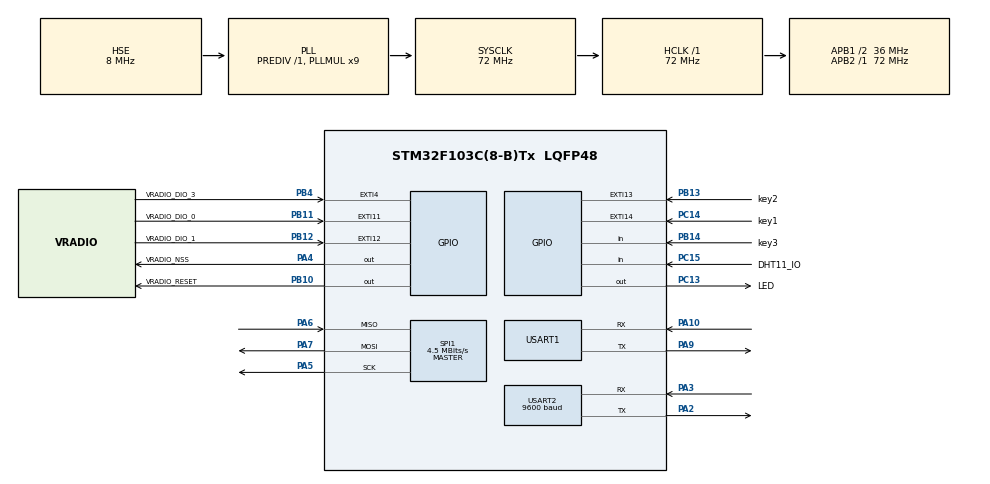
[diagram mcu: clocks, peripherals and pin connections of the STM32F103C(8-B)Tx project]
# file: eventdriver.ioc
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Dma.Request0=USART2_RX
Dma.USART2_RX.0.Direction=DMA_PERIPH_TO_MEMORY
Dma.USART2_RX.0.Instance=DMA1_Channel6
Dma.USART2_RX.0.MemDataAlignment=DMA_MDATAALIGN_BYTE
Dma.USART2_RX.0.MemInc=DMA_MINC_ENABLE
Dma.USART2_RX.0.Mode=DMA_NORMAL
Dma.USART2_RX.0.PeriphDataAlignment=DMA_PDATAALIGN_BYTE
Dma.USART2_RX.0.PeriphInc=DMA_PINC_DISABLE
Dma.USART2_RX.0.Priority=DMA_PRIORITY_LOW
Mcu.Family=STM32F1
Mcu.Name=STM32F103C(8-B)Tx
Mcu.Package=LQFP48
NVIC.DMA1_Channel6_IRQn=true\:0\:0\:false\:false\:true\:false\:true\:true
NVIC.EXTI15_10_IRQn=true\:0\:0\:false\:false\:true\:true\:true\:true
NVIC.PriorityGroup=NVIC_PRIORITYGROUP_1
NVIC.USART1_IRQn=true\:0\:0\:false\:false\:true\:true\:true\:true
NVIC.USART2_IRQn=true\:0\:0\:false\:false\:true\:true\:true\:true
PA10.Mode=Asynchronous
PA10.Signal=USART1_RX
PA13.Mode=Serial_Wire
PA13.Signal=SYS_JTMS-SWDIO
PA14.Mode=Serial_Wire
PA14.Signal=SYS_JTCK-SWCLK
PA2.Mode=Asynchronous
PA2.Signal=USART2_TX
PA3.Mode=Asynchronous
PA3.Signal=USART2_RX
PA4.GPIO_Label=VRADIO_NSS
PA4.Signal=GPIO_Output
PA5.Mode=Full_Duplex_Master
PA5.Signal=SPI1_SCK
PA6.Mode=Full_Duplex_Master
PA6.Signal=SPI1_MISO
PA7.Mode=Full_Duplex_Master
PA7.Signal=SPI1_MOSI
PA9.Mode=Asynchronous
PA9.Signal=USART1_TX
PB10.GPIO_Label=VRADIO_RESET
PB10.Signal=GPIO_Output
PB11.GPIO_Label=VRADIO_DIO_0
PB11.Signal=GPXTI11
PB12.GPIO_Label=VRADIO_DIO_1
PB12.Signal=GPXTI12
PB13.GPIO_Label=key2
PB13.GPIO_ModeDefaultEXTI=GPIO_MODE_IT_FALLING
PB13.GPIO_PuPd=GPIO_PULLUP
PB13.Signal=GPXTI13
PB14.GPIO_Label=key3
PB14.GPIO_PuPd=GPIO_PULLUP
PB14.Signal=GPIO_Input
PB4.GPIO_Label=VRADIO_DIO_3
PB4.Signal=GPXTI4
PC13-TAMPER-RTC.GPIO_Label=LED
PC13-TAMPER-RTC.PinState=GPIO_PIN_SET
PC13-TAMPER-RTC.Signal=GPIO_Output
PC14-OSC32_IN.GPIO_Label=key1
PC14-OSC32_IN.GPIO_ModeDefaultEXTI=GPIO_MODE_IT_FALLING
PC14-OSC32_IN.GPIO_PuPd=GPIO_PULLUP
PC14-OSC32_IN.Signal=GPXTI14
PC15-OSC32_OUT.GPIO_Label=DHT11_IO
PC15-OSC32_OUT.GPIO_PuPd=GPIO_PULLUP
PC15-OSC32_OUT.Signal=GPIO_Input
PD0-OSC_IN.Mode=HSE-External-Oscillator
PD0-OSC_IN.Signal=RCC_OSC_IN
PD1-OSC_OUT.Mode=HSE-External-Oscillator
PD1-OSC_OUT.Signal=RCC_OSC_OUT
ProjectManager.HeapSize=0x200
ProjectManager.StackSize=0x400
ProjectManager.TargetToolchain=MDK-ARM V5
RCC.AHBFreq_Value=72000000
RCC.APB1CLKDivider=RCC_HCLK_DIV2
RCC.APB1Freq_Value=36000000
RCC.APB1TimFreq_Value=72000000
RCC.APB2Freq_Value=72000000
RCC.APB2TimFreq_Value=72000000
RCC.HCLKFreq_Value=72000000
RCC.PLLMUL=RCC_PLL_MUL9
RCC.PLLSourceVirtual=RCC_PLLSOURCE_HSE
RCC.SYSCLKFreq_VALUE=72000000
RCC.SYSCLKSource=RCC_SYSCLKSOURCE_PLLCLK
RCC.USBFreq_Value=72000000
SPI1.BaudRatePrescaler=SPI_BAUDRATEPRESCALER_16
SPI1.CalculateBaudRate=4.5 MBits/s
SPI1.Direction=SPI_DIRECTION_2LINES
SPI1.Mode=SPI_MODE_MASTER
SPI1.VirtualType=VM_MASTER
TIM4.Prescaler=71
USART1.VirtualMode=VM_ASYNC
USART2.BaudRate=9600
USART2.VirtualMode=VM_ASYNC
VP_TIM4_VS_ClockSourceINT.Mode=Internal
board=custom

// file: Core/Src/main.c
/* USER CODE BEGIN Header */
/**
  ******************************************************************************
  * @file           : main.c
  * @brief          : Main program body
  ******************************************************************************
  * @attention
  *
  * Copyright (c) 2024 STMicroelectronics.
  * All rights reserved.
  *
  * This software is licensed under terms that can be found in the LICENSE file
  * in the root directory of this software component.
  * If no LICENSE file comes with this software, it is provided AS-IS.
  *
  ******************************************************************************
  */
/* USER CODE END Header */
#include "main.h"

/* USER CODE BEGIN Includes */
#include "stdio.h"
#include"elog.h"
#include"vMsgExec.h"
#include"dyn_mem.h"
#include"app.h"
/* USER CODE END Includes */

SPI_HandleTypeDef hspi1;

TIM_HandleTypeDef htim4;

UART_HandleTypeDef huart1;
UART_HandleTypeDef huart2;
DMA_HandleTypeDef hdma_usart2_rx;

void SystemClock_Config(void);
static void MX_GPIO_Init(void);
static void MX_DMA_Init(void);
static void MX_USART1_UART_Init(void);
static void MX_TIM4_Init(void);
static void MX_USART2_UART_Init(void);
static void MX_SPI1_Init(void);

/* USER CODE BEGIN 0 */

extern uint32_t os_time;
uint32_t HAL_GetTick(void)
{
  return os_time;
}

int fputc(int ch,FILE *f)
  {
    HAL_UART_Transmit(&huart1,(uint8_t*)&ch,1,10);
    return ch;
  }

// //test
// uint8_t SX1278_ReadRegister(uint8_t addr) {
//     uint8_t data;
//     // 选择 SX1278 芯片
//     HAL_GPIO_WritePin(VRADIO_NSS_GPIO_Port, VRADIO_NSS_Pin, GPIO_PIN_RESET);
//     // 发送寄存器地址
//     HAL_SPI_Transmit(&hspi1, &addr, 1, HAL_MAX_DELAY);
//     // 读取寄存器数据
//     HAL_SPI_Receive(&hspi1, &data, 1, HAL_MAX_DELAY);
//     // 取消选择 SX1278 芯片
//     HAL_GPIO_WritePin(VRADIO_NSS_GPIO_Port, VRADIO_NSS_Pin, GPIO_PIN_SET);
//     return data;
// }

/* USER CODE END 0 */

int main(void)
{

  /* MCU Configuration--------------------------------------------------------*/

  /* Reset of all peripherals, Initializes the Flash interface and the Systick. */
  HAL_Init();

  /* Configure the system clock */
  SystemClock_Config();

  /* Initialize all configured peripherals */
  MX_GPIO_Init();
  MX_DMA_Init();
  MX_USART1_UART_Init();
  MX_TIM4_Init();
  MX_USART2_UART_Init();
  MX_SPI1_Init();
  /* USER CODE BEGIN 2 */

elog_init();
/* set EasyLogger log format */
elog_set_fmt(ELOG_LVL_ASSERT, ELOG_FMT_ALL);
elog_set_fmt(ELOG_LVL_ERROR, ELOG_FMT_LVL | ELOG_FMT_TAG );
elog_set_fmt(ELOG_LVL_WARN, ELOG_FMT_LVL | ELOG_FMT_TAG );
elog_set_fmt(ELOG_LVL_INFO, ELOG_FMT_LVL | ELOG_FMT_TAG );
elog_set_fmt(ELOG_LVL_DEBUG, ELOG_FMT_ALL & ~ELOG_FMT_FUNC);
elog_set_fmt(ELOG_LVL_VERBOSE, ELOG_FMT_ALL & ~ELOG_FMT_FUNC);
/* start EasyLogger */
elog_start();

  dm_init();
  MsgExec_Init();
  VWM_TimerInit();
  log_i("Wireless Access System Init OK!");
  app_init();
  /* USER CODE END 2 */

  /* Infinite loop */
  /* USER CODE BEGIN WHILE */

  //test
// uint8_t version = SX1278_ReadRegister(0x42);

//     // 通过串口输出版本信息
//     char buffer[50];
//     sprintf(buffer, "SX1278 Version: 0x%02X\r\n", version);
//     HAL_UART_Transmit(&huart1, (uint8_t*)buffer, strlen(buffer), HAL_MAX_DELAY);

  while (1)
  {
    /* USER CODE END WHILE */

    /* USER CODE BEGIN 3 */
    MsgExec_Exec();
  //  int a=HAL_GPIO_ReadPin(VRADIO_DIO_0_GPIO_Port,VRADIO_DIO_0_Pin);
  //   printf("%d",a);
  }

  /* USER CODE END 3 */
}

void SystemClock_Config(void)
{
  RCC_OscInitTypeDef RCC_OscInitStruct = {0};
  RCC_ClkInitTypeDef RCC_ClkInitStruct = {0};

  /** Initializes the RCC Oscillators according to the specified parameters
  * in the RCC_OscInitTypeDef structure.
  */
  RCC_OscInitStruct.OscillatorType = RCC_OSCILLATORTYPE_HSE;
  RCC_OscInitStruct.HSEState = RCC_HSE_ON;
  RCC_OscInitStruct.HSEPredivValue = RCC_HSE_PREDIV_DIV1;
  RCC_OscInitStruct.HSIState = RCC_HSI_ON;
  RCC_OscInitStruct.PLL.PLLState = RCC_PLL_ON;
  RCC_OscInitStruct.PLL.PLLSource = RCC_PLLSOURCE_HSE;
  RCC_OscInitStruct.PLL.PLLMUL = RCC_PLL_MUL9;
  if (HAL_RCC_OscConfig(&RCC_OscInitStruct) != HAL_OK)
  {
    Error_Handler();
  }

  /** Initializes the CPU, AHB and APB buses clocks
  */
  RCC_ClkInitStruct.ClockType = RCC_CLOCKTYPE_HCLK|RCC_CLOCKTYPE_SYSCLK
                              |RCC_CLOCKTYPE_PCLK1|RCC_CLOCKTYPE_PCLK2;
  RCC_ClkInitStruct.SYSCLKSource = RCC_SYSCLKSOURCE_PLLCLK;
  RCC_ClkInitStruct.AHBCLKDivider = RCC_SYSCLK_DIV1;
  RCC_ClkInitStruct.APB1CLKDivider = RCC_HCLK_DIV2;
  RCC_ClkInitStruct.APB2CLKDivider = RCC_HCLK_DIV1;

  if (HAL_RCC_ClockConfig(&RCC_ClkInitStruct, FLASH_LATENCY_2) != HAL_OK)
  {
    Error_Handler();
  }
}

static void MX_SPI1_Init(void)
{

  /* SPI1 parameter configuration*/
  hspi1.Instance = SPI1;
  hspi1.Init.Mode = SPI_MODE_MASTER;
  hspi1.Init.Direction = SPI_DIRECTION_2LINES;
  hspi1.Init.DataSize = SPI_DATASIZE_8BIT;
  hspi1.Init.CLKPolarity = SPI_POLARITY_LOW;
  hspi1.Init.CLKPhase = SPI_PHASE_1EDGE;
  hspi1.Init.NSS = SPI_NSS_SOFT;
  hspi1.Init.BaudRatePrescaler = SPI_BAUDRATEPRESCALER_16;
  hspi1.Init.FirstBit = SPI_FIRSTBIT_MSB;
  hspi1.Init.TIMode = SPI_TIMODE_DISABLE;
  hspi1.Init.CRCCalculation = SPI_CRCCALCULATION_DISABLE;
  hspi1.Init.CRCPolynomial = 10;
  if (HAL_SPI_Init(&hspi1) != HAL_OK)
  {
    Error_Handler();
  }

}

static void MX_TIM4_Init(void)
{

  TIM_ClockConfigTypeDef sClockSourceConfig = {0};
  TIM_MasterConfigTypeDef sMasterConfig = {0};

  htim4.Instance = TIM4;
  htim4.Init.Prescaler = 71;
  htim4.Init.CounterMode = TIM_COUNTERMODE_UP;
  htim4.Init.Period = 65535;
  htim4.Init.ClockDivision = TIM_CLOCKDIVISION_DIV1;
  htim4.Init.AutoReloadPreload = TIM_AUTORELOAD_PRELOAD_DISABLE;
  if (HAL_TIM_Base_Init(&htim4) != HAL_OK)
  {
    Error_Handler();
  }
  sClockSourceConfig.ClockSource = TIM_CLOCKSOURCE_INTERNAL;
  if (HAL_TIM_ConfigClockSource(&htim4, &sClockSourceConfig) != HAL_OK)
  {
    Error_Handler();
  }
  sMasterConfig.MasterOutputTrigger = TIM_TRGO_RESET;
  sMasterConfig.MasterSlaveMode = TIM_MASTERSLAVEMODE_DISABLE;
  if (HAL_TIMEx_MasterConfigSynchronization(&htim4, &sMasterConfig) != HAL_OK)
  {
    Error_Handler();
  }

}

static void MX_USART1_UART_Init(void)
{

  huart1.Instance = USART1;
  huart1.Init.BaudRate = 115200;
  huart1.Init.WordLength = UART_WORDLENGTH_8B;
  huart1.Init.StopBits = UART_STOPBITS_1;
  huart1.Init.Parity = UART_PARITY_NONE;
  huart1.Init.Mode = UART_MODE_TX_RX;
  huart1.Init.HwFlowCtl = UART_HWCONTROL_NONE;
  huart1.Init.OverSampling = UART_OVERSAMPLING_16;
  if (HAL_UART_Init(&huart1) != HAL_OK)
  {
    Error_Handler();
  }

}

static void MX_USART2_UART_Init(void)
{

  huart2.Instance = USART2;
  huart2.Init.BaudRate = 9600;
  huart2.Init.WordLength = UART_WORDLENGTH_8B;
  huart2.Init.StopBits = UART_STOPBITS_1;
  huart2.Init.Parity = UART_PARITY_NONE;
  huart2.Init.Mode = UART_MODE_TX_RX;
  huart2.Init.HwFlowCtl = UART_HWCONTROL_NONE;
  huart2.Init.OverSampling = UART_OVERSAMPLING_16;
  if (HAL_UART_Init(&huart2) != HAL_OK)
  {
    Error_Handler();
  }

}

static void MX_DMA_Init(void)
{

  /* DMA controller clock enable */
  __HAL_RCC_DMA1_CLK_ENABLE();

  /* DMA interrupt init */
  /* DMA1_Channel6_IRQn interrupt configuration */
  HAL_NVIC_SetPriority(DMA1_Channel6_IRQn, 0, 0);
  HAL_NVIC_EnableIRQ(DMA1_Channel6_IRQn);

}

static void MX_GPIO_Init(void)
{
  GPIO_InitTypeDef GPIO_InitStruct = {0};

  /* GPIO Ports Clock Enable */
  __HAL_RCC_GPIOC_CLK_ENABLE();
  __HAL_RCC_GPIOD_CLK_ENABLE();
  __HAL_RCC_GPIOA_CLK_ENABLE();
  __HAL_RCC_GPIOB_CLK_ENABLE();

  /*Configure GPIO pin Output Level */
  HAL_GPIO_WritePin(LED_GPIO_Port, LED_Pin, GPIO_PIN_SET);

  /*Configure GPIO pin Output Level */
  HAL_GPIO_WritePin(VRADIO_NSS_GPIO_Port, VRADIO_NSS_Pin, GPIO_PIN_RESET);

  /*Configure GPIO pin Output Level */
  HAL_GPIO_WritePin(VRADIO_RESET_GPIO_Port, VRADIO_RESET_Pin, GPIO_PIN_RESET);

  /*Configure GPIO pin : LED_Pin */
  GPIO_InitStruct.Pin = LED_Pin;
  GPIO_InitStruct.Mode = GPIO_MODE_OUTPUT_PP;
  GPIO_InitStruct.Pull = GPIO_NOPULL;
  GPIO_InitStruct.Speed = GPIO_SPEED_FREQ_LOW;
  HAL_GPIO_Init(LED_GPIO_Port, &GPIO_InitStruct);

  /*Configure GPIO pin : key1_Pin */
  GPIO_InitStruct.Pin = key1_Pin;
  GPIO_InitStruct.Mode = GPIO_MODE_IT_FALLING;
  GPIO_InitStruct.Pull = GPIO_PULLUP;
  HAL_GPIO_Init(key1_GPIO_Port, &GPIO_InitStruct);

  /*Configure GPIO pin : DHT11_IO_Pin */
  GPIO_InitStruct.Pin = DHT11_IO_Pin;
  GPIO_InitStruct.Mode = GPIO_MODE_INPUT;
  GPIO_InitStruct.Pull = GPIO_PULLUP;
  HAL_GPIO_Init(DHT11_IO_GPIO_Port, &GPIO_InitStruct);

  /*Configure GPIO pin : VRADIO_NSS_Pin */
  GPIO_InitStruct.Pin = VRADIO_NSS_Pin;
  GPIO_InitStruct.Mode = GPIO_MODE_OUTPUT_PP;
  GPIO_InitStruct.Pull = GPIO_NOPULL;
  GPIO_InitStruct.Speed = GPIO_SPEED_FREQ_LOW;
  HAL_GPIO_Init(VRADIO_NSS_GPIO_Port, &GPIO_InitStruct);

  /*Configure GPIO pin : VRADIO_RESET_Pin */
  GPIO_InitStruct.Pin = VRADIO_RESET_Pin;
  GPIO_InitStruct.Mode = GPIO_MODE_OUTPUT_PP;
  GPIO_InitStruct.Pull = GPIO_NOPULL;
  GPIO_InitStruct.Speed = GPIO_SPEED_FREQ_LOW;
  HAL_GPIO_Init(VRADIO_RESET_GPIO_Port, &GPIO_InitStruct);

  /*Configure GPIO pins : VRADIO_DIO_0_Pin VRADIO_DIO_1_Pin VRADIO_DIO_3_Pin */
  GPIO_InitStruct.Pin = VRADIO_DIO_0_Pin|VRADIO_DIO_1_Pin|VRADIO_DIO_3_Pin;
  GPIO_InitStruct.Mode = GPIO_MODE_IT_RISING;
  GPIO_InitStruct.Pull = GPIO_NOPULL;
  HAL_GPIO_Init(GPIOB, &GPIO_InitStruct);

  /*Configure GPIO pin : key2_Pin */
  GPIO_InitStruct.Pin = key2_Pin;
  GPIO_InitStruct.Mode = GPIO_MODE_IT_FALLING;
  GPIO_InitStruct.Pull = GPIO_PULLUP;
  HAL_GPIO_Init(key2_GPIO_Port, &GPIO_InitStruct);

  /*Configure GPIO pin : key3_Pin */
  GPIO_InitStruct.Pin = key3_Pin;
  GPIO_InitStruct.Mode = GPIO_MODE_INPUT;
  GPIO_InitStruct.Pull = GPIO_PULLUP;
  HAL_GPIO_Init(key3_GPIO_Port, &GPIO_InitStruct);

  /* EXTI interrupt init*/
  HAL_NVIC_SetPriority(EXTI15_10_IRQn, 0, 0);
  HAL_NVIC_EnableIRQ(EXTI15_10_IRQn);

}

void Error_Handler(void)
{
  __disable_irq();
  while (1)
  {
  }
}
